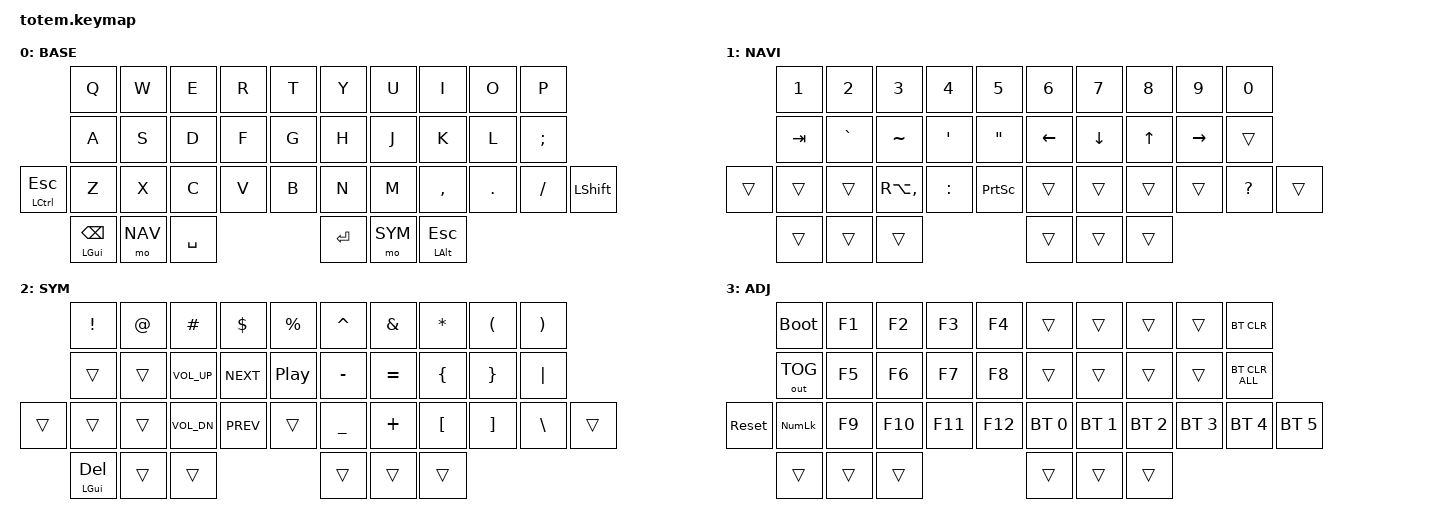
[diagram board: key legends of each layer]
#include <behaviors.dtsi>
#include <dt-bindings/zmk/keys.h>
#include <dt-bindings/zmk/bt.h>
#include <dt-bindings/zmk/outputs.h>

#define BASE 0
#define NAV  1
#define SYM  2
#define ADJ  3

/ {
  conditional_layers {
    compatible = "zmk,conditional-layers";
    adjust_layer {
      if-layers = <1 2>;
      then-layer = <3>;
    };
  };

  behaviors {
    tp: homerow_mods {
        compatible = "zmk,behavior-hold-tap";
        label = "HOMEROW_MODS";
        #binding-cells = <2>;
        tapping-term-ms = <150>;
        quick-tap-ms = <0>;
        flavor = "tap-preferred";
        bindings = <&kp>, <&kp>;
    };
  };

  keymap {
    compatible = "zmk,keymap";

    base_layer {
      label= "BASE";
      bindings = <
                    &kp Q &kp W &kp E &kp R &kp T  &kp Y  &kp U &kp I     &kp O   &kp P
                    &kp A &kp S &kp D &kp F &kp G  &kp H  &kp J &kp K     &kp L   &kp SEMI
      &tp LCTRL ESC &kp Z &kp X &kp C &kp V &kp B  &kp N  &kp M &kp COMMA &kp DOT &kp FSLH &kp LSHFT
                  &tp LGUI BSPC &mo NAV &kp SPACE  &kp RET &mo SYM &tp LALT ESC
      >;
    };

    nav_layer {
      label= "NAVI";
      bindings = <
               &kp N1  &kp N2    &kp N3        &kp N4    &kp N5     &kp N6   &kp N7   &kp N8 &kp N9    &kp N0
               &kp TAB &kp GRAVE &kp TILDE     &kp SQT   &kp DQT    &kp LEFT &kp DOWN &kp UP &kp RIGHT &trans
        &trans &trans  &trans    &kp RA(COMMA) &kp COLON &kp PSCRN  &trans   &trans   &trans &trans    &kp QMARK &trans
                                              &trans &trans &trans  &trans &trans &trans
      >;
    };

    sim_layer {
      label= "SYM";
      bindings = <
               &kp EXCL &kp AT &kp HASH     &kp DLLR   &kp PRCNT  &kp CARET &kp AMPS  &kp ASTRK &kp LPAR &kp RPAR
               &trans   &trans &kp C_VOL_UP &kp C_NEXT &kp C_PP   &kp MINUS &kp EQUAL &kp LBRC  &kp RBRC &kp PIPE
        &trans &trans   &trans &kp C_VOL_DN &kp C_PREV &trans     &kp UNDER &kp PLUS  &kp LBKT  &kp RBKT &kp BSLH &trans
                                     &tp LGUI DEL &trans &trans   &trans &trans &trans
      >;
    };

    adjust_layer {
      label= "ADJ";
      bindings = <
                    &bootloader  &kp F1 &kp F2  &kp F3  &kp F4   &trans       &trans       &trans       &trans       &bt BT_CLR
                    &out OUT_TOG &kp F5 &kp F6  &kp F7  &kp F8   &trans       &trans       &trans       &trans       &bt BT_CLR_ALL
        &sys_reset  &kp KP_NLCK  &kp F9 &kp F10 &kp F11 &kp F12  &bt BT_SEL 0 &bt BT_SEL 1 &bt BT_SEL 2 &bt BT_SEL 3 &bt BT_SEL 4   &bt BT_SEL 5
                                           &trans &trans &trans  &trans &trans &trans
      >;
    };
  };
};
